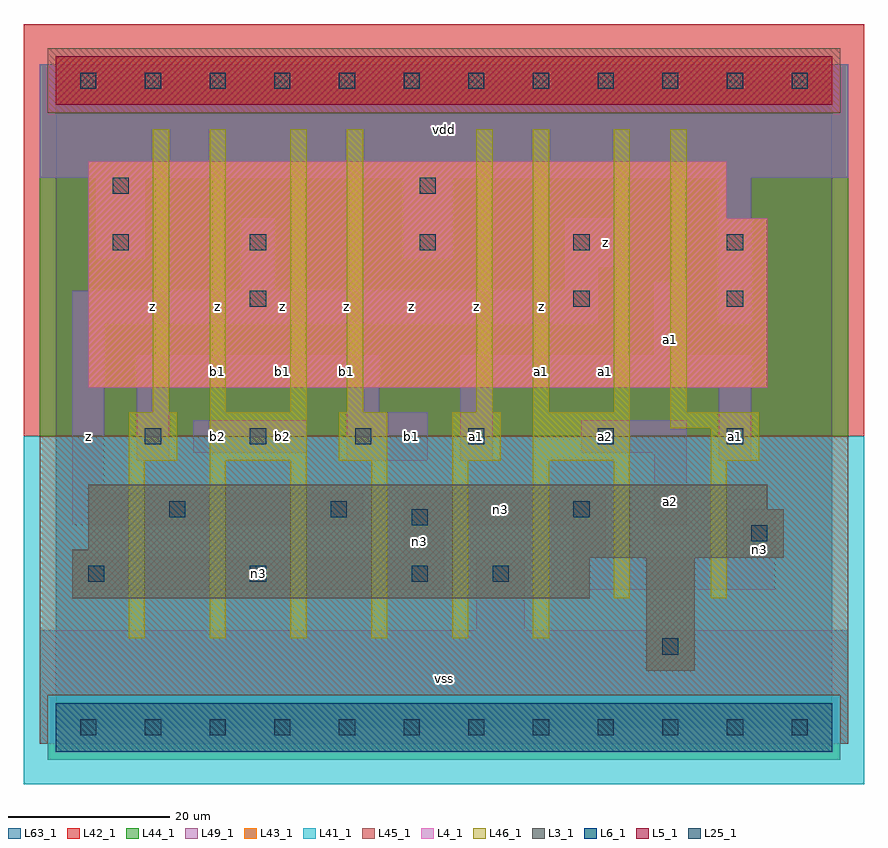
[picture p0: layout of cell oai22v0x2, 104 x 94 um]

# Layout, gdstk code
import gdstk
lib = gdstk.Library(unit=1e-6, precision=1e-09)
def R(c, l, rs):  # rectangles x0, y0, x1, y1
    for r in rs: c.add(gdstk.rectangle(r[:2], r[2:], *l))
def A(c, l, x, y, w, h, nx, ny, dx, dy):  # array of equal rectangles
    R(c, l, [(x+i*dx, y+j*dy, x+i*dx+w, y+j*dy+h) for i in range(nx) for j in range(ny)])
L3_1 = (3, 1)
L4_1 = (4, 1)
L5_1 = (5, 1)
L6_1 = (6, 1)
L25_1 = (25, 1)
L41_1 = (41, 1)
L42_1 = (42, 1)
L43_1 = (43, 1)
L44_1 = (44, 1)
L45_1 = (45, 1)
L46_1 = (46, 1)
L49_1 = (49, 1)
L63_1 = (63, 1)

oai22v0x2 = lib.new_cell('oai22v0x2')
R(oai22v0x2, L3_1, [(73,7,79,21), (2,16,66,21), (2,21,90,22), (4,22,90,27), (4,27,88,30)])
R(oai22v0x2, L4_1, [(4,42,88,63), (4,63,83,70)])
R(oai22v0x2, L5_1, [(0,77,96,83)])
R(oai22v0x2, L6_1, [(0,-3,96,3), (0,-3,96,3)])
A(oai22v0x2, L25_1, 3, -1, 2, 2, 12, 2, 8, 80)
A(oai22v0x2, L25_1, 4, 18, 2, 2, 3, 1, 20, 0)
A(oai22v0x2, L25_1, 11, 35, 2, 2, 3, 1, 13, 0)
A(oai22v0x2, L25_1, 51, 35, 2, 2, 3, 1, 16, 0)
A(oai22v0x2, L25_1, 45, 59, 2, 2, 3, 1, 19, 0)
R(oai22v0x2, L25_1, [(75,9,77,11), (54,18,56,20), (86,23,88,25), (44,25,46,27), (14,26,16,28), (34,26,36,28), (64,26,66,28), (24,52,26,54), (64,52,66,54), (83,52,85,54), (7,59,9,61), (24,59,26,61), (7,66,9,68), (45,66,47,68)])
R(oai22v0x2, L41_1, [(-4,-7,100,36)])
R(oai22v0x2, L42_1, [(-4,36,100,87)])
R(oai22v0x2, L43_1, [(0,-3,96,3), (73,7,79,21), (2,16,66,21), (2,21,90,22), (4,22,90,27), (4,27,88,30), (4,42,88,63), (4,63,83,70), (0,77,96,83)])
R(oai22v0x2, L44_1, [(-1,-4,97,4), (-2,36,98,76), (-2,76,-1,82), (97,76,98,82)])
R(oai22v0x2, L45_1, [(-2,-2,-1,4), (97,-2,98,4), (-2,4,98,36), (-1,76,97,84)])
A(oai22v0x2, L46_1, 9, 11, 2, 22, 6, 1, 10, 0)
R(oai22v0x2, L46_1, [(69,16,71,33), (81,16,83,33), (9,33,15,39), (19,33,31,39), (35,33,41,39), (49,33,55,39), (59,33,71,39), (81,33,87,37), (76,37,87,39), (12,39,14,74), (19,39,21,74), (29,39,31,74), (36,39,38,74), (52,39,54,74), (59,39,61,74), (69,39,71,74), (76,39,78,74)])
R(oai22v0x2, L49_1, [(-2,-2,98,12), (52,12,58,21), (2,17,48,21), (64,17,89,21), (43,21,48,25), (64,21,68,25), (85,21,89,27), (2,25,38,29), (43,25,68,29), (74,25,78,34), (2,29,6,50), (10,33,14,42), (36,33,46,39), (50,33,54,42), (82,33,86,42), (17,34,31,38), (65,34,78,38), (36,39,40,42), (10,42,40,46), (50,42,86,46), (74,46,78,55), (2,50,67,54), (82,50,86,68), (23,54,27,63), (63,54,67,57), (63,57,70,63), (5,58,11,68), (43,58,49,68), (-2,68,98,82)])
R(oai22v0x2, L63_1, [(0,0,96,80)])
oai22v0x2.add(gdstk.Label('z', (4,36), layer=49, texttype=1))
oai22v0x2.add(gdstk.Label('z', (12,52), layer=49, texttype=1))
oai22v0x2.add(gdstk.Label('b2', (20,36), layer=49, texttype=1))
oai22v0x2.add(gdstk.Label('b1', (20,44), layer=49, texttype=1))
oai22v0x2.add(gdstk.Label('b2', (28,36), layer=49, texttype=1))
oai22v0x2.add(gdstk.Label('b1', (28,44), layer=49, texttype=1))
oai22v0x2.add(gdstk.Label('z', (28,52), layer=49, texttype=1))
oai22v0x2.add(gdstk.Label('z', (20,52), layer=49, texttype=1))
oai22v0x2.add(gdstk.Label('vss', (48,6), layer=49, texttype=1))
oai22v0x2.add(gdstk.Label('n3', (25,19), layer=49, texttype=1))
oai22v0x2.add(gdstk.Label('n3', (45,23), layer=49, texttype=1))
oai22v0x2.add(gdstk.Label('b1', (36,44), layer=49, texttype=1))
oai22v0x2.add(gdstk.Label('b1', (44,36), layer=49, texttype=1))
oai22v0x2.add(gdstk.Label('a1', (52,36), layer=49, texttype=1))
oai22v0x2.add(gdstk.Label('z', (44,52), layer=49, texttype=1))
oai22v0x2.add(gdstk.Label('z', (52,52), layer=49, texttype=1))
oai22v0x2.add(gdstk.Label('z', (36,52), layer=49, texttype=1))
oai22v0x2.add(gdstk.Label('vdd', (48,74), layer=49, texttype=1))
oai22v0x2.add(gdstk.Label('n3', (55,27), layer=49, texttype=1))
oai22v0x2.add(gdstk.Label('a2', (76,28), layer=49, texttype=1))
oai22v0x2.add(gdstk.Label('a1', (60,44), layer=49, texttype=1))
oai22v0x2.add(gdstk.Label('a2', (68,36), layer=49, texttype=1))
oai22v0x2.add(gdstk.Label('a1', (68,44), layer=49, texttype=1))
oai22v0x2.add(gdstk.Label('a1', (76,48), layer=49, texttype=1))
oai22v0x2.add(gdstk.Label('z', (60,52), layer=49, texttype=1))
oai22v0x2.add(gdstk.Label('z', (68,60), layer=49, texttype=1))
oai22v0x2.add(gdstk.Label('n3', (87,22), layer=49, texttype=1))
oai22v0x2.add(gdstk.Label('a1', (84,36), layer=49, texttype=1))

lib.write_gds('oai22v0x2.gds')
